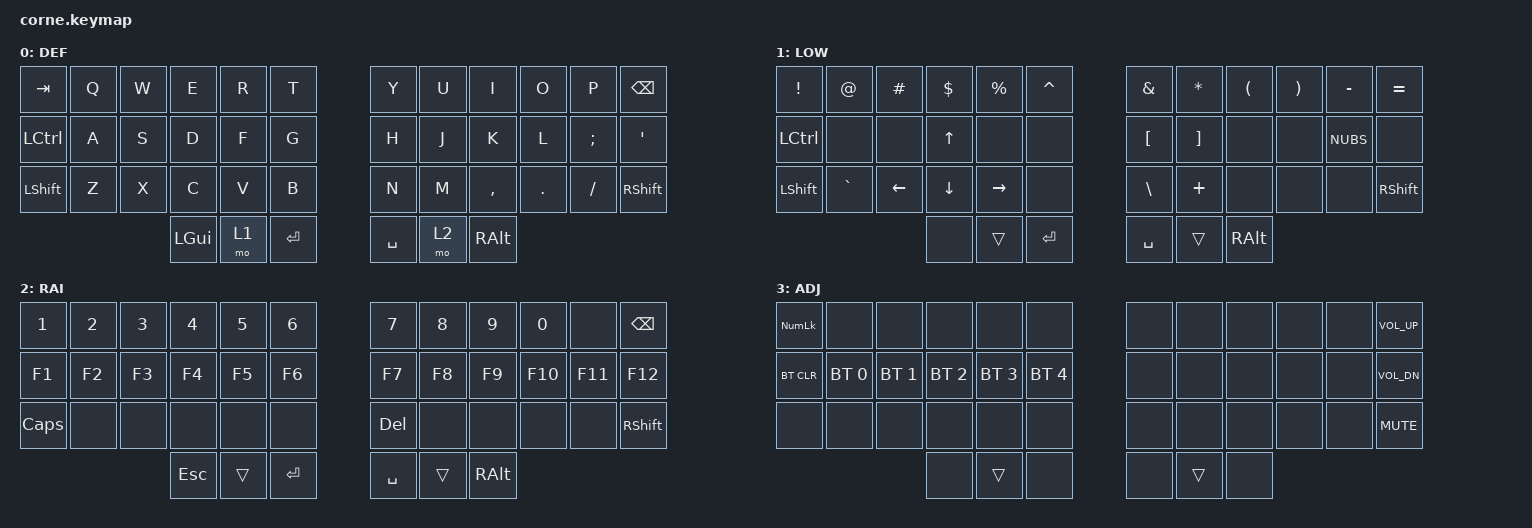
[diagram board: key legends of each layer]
/*
 * Copyright (c) 2020 The ZMK Contributors
 *
 * SPDX-License-Identifier: MIT
 */

#include <behaviors.dtsi>
#include <dt-bindings/zmk/keys.h>
#include <dt-bindings/zmk/bt.h>
#include "keymap_spanish.h"


#define DEF 0
#define LOW 1
#define RAI 2
#define ADJ 3

#define XXXXX &none
#define _____ &trans

/ {
    macros {
        barra_vertical: barra_vertical {
            label = "barra_vertical";
            compatible = "zmk,behavior-macro";
            #binding-cells = <0>;
            wait-ms = <40>;
            tap-ms = <40>;
            bindings
            = <&macro_press   &kp LALT>
            , <&macro_tap     &kp KP_N1 &kp KP_N2 &kp KP_N4>
            , <&macro_release &kp LALT>
            ;
            
        };
    };
};


/ {
        
    conditional_layers {
        compatible = "zmk,conditional-layers";
        tri_layer {
            if-layers = <LOW RAI>;
            then-layer = <ADJ>;
        };
    };



        keymap {
                compatible = "zmk,keymap";

                default_layer {
                        label = "DEF";
// -----------------------------------------------------------------------------------------
// |  TAB |  Q  |  W  |  E  |  R  |  T  |   |  Y  |  U   |  I  |  O  |  P  | BKSP |
// | CTRL |  A  |  S  |  D  |  F  |  G  |   |  H  |  J   |  K  |  L  |  ;  |  '  |
// | SHFT |  Z  |  X  |  C  |  V  |  B  |   |  N  |  M   |  ,  |  .  |  /  | RSHIFT |
//                    | GUI | LWR | SPC |   | ENT | RSE  | ALT |
                        bindings = <
   &kp TAB   &kp Q &kp W &kp E &kp R &kp T   &kp Y &kp U  &kp I     &kp O   &kp P    &kp BSPC
   &kp LCTRL &kp A &kp S &kp D &kp F &kp G   &kp H &kp J  &kp K     &kp L   &kp SEMI &kp APOS
   &kp LSHFT &kp Z &kp X &kp C &kp V &kp B   &kp N &kp M  &kp COMMA &kp DOT &kp FSLH &kp RSHFT
                  &kp LGUI &mo 1 &kp RET   &kp SPACE &mo 2 &kp RALT
                        >;
                };
                lower_layer {
                        label = "LOW";
// -----------------------------------------------------------------------------------------
// |  !   |  @  |  #  |  $  |  % |  ^  |       |  &  |  * |  (  |  )  |  -  | =  |
// | CTRL |     |     | UP  |    |     |       |  [  |  ]  |    |    |  N  |      |
// | SHFT |  `  | LEFT| DOWN| RIGHT |  |       |  \  |  +  |    |    |    | RSHIFT |
//                    |   |   | SPC    |       | ENT  |     |  ALT |
                        bindings = <
   &kp EXCL  &kp AT &kp POUND &kp DLLR &kp PRCNT &kp CARET      &kp AMPS &kp STAR  &kp LPAR &kp RPAR  &kp MINUS &kp EQUAL
   &kp LCTRL &none   &none &kp UP   &none   &none                      &kp LBKT &kp RBKT &none &none &kp NUBS &none 
   &kp LSHFT &kp GRAVE  &kp LEFT &kp DOWN   &kp RIGHT   &none    &kp BSLH &kp PLUS &none  &none &none &kp RSHIFT
                             &none &trans   &kp RET                  &kp SPACE   &trans  &kp RALT
                        >;
                };
                raise_layer {
                        label = "RAI";
// -----------------------------------------------------------------------------------------
// | 1     |  2     |  3     |  4     |  5     | 6    |        |   7  |  8  |  9  |   0    |     |  BKSP  |
// |  F1   |  F2   |   F3   |  F4    |  F5    |   F6  |        |  F7    |  F8    |  F9   |  F10    |   F11   |  F12 |
// |CAPS |     |      |      |      |     |        | DEL  |      |      |     |      | RSHFT|
//                    | ESC  |     | SPC |   | ENT |     | ALT |
                        bindings = <
   &kp N1 &kp N2  &kp N3 &kp N4  &kp N5 &kp N6       &kp N7 &kp N8  &kp N9 &kp N0  &none &kp BSPC
   &kp F1 &kp F2  &kp F3 &kp F4 &kp F5 &kp F6        &kp F7 &kp F8 &kp F9 &kp F10 &kp F11 &kp F12
   &kp CAPS &none &none &none &none &none      &kp DEL  &none  &none &none  &none &kp RSHFT
                &kp ESC  &trans  &kp RET       &kp SPACE  &trans  &kp RALT
                        >;
                };
                adjust_layer {
                        label = "ADJ";
// -----------------------------------------------------------------------------------------
// |   NUM LOCK    |      |      |      |      |      |  |     |     |    |    |    | VOL UP |
// | BT CLR | BT 1 | BT 2 | BT 3 | BT 4 | BT 5 |  |     |     |    |    |    | VOL DN |
// |        |      |      |      |      |      |  |     |     |    |    |    |  MUTE  |
//                        |      |      |      |  |     |     |    |
                        bindings = <
   &kp KP_NUMLOCK &none &none &none &none &none                                         &none &none  &none &none &none &kp C_VOL_UP
   &bt BT_CLR &bt BT_SEL 0 &bt BT_SEL 1 &bt BT_SEL 2 &bt BT_SEL 3 &bt BT_SEL 4          &none &none &none &none &none &kp C_VOL_DN
   &none &none   &none &none   &none   &none                                            &none &none  &none &none &none &kp C_MUTE
                            &none &trans   &none                                        &none &trans &none
                        >;
                };
                
        };
};


